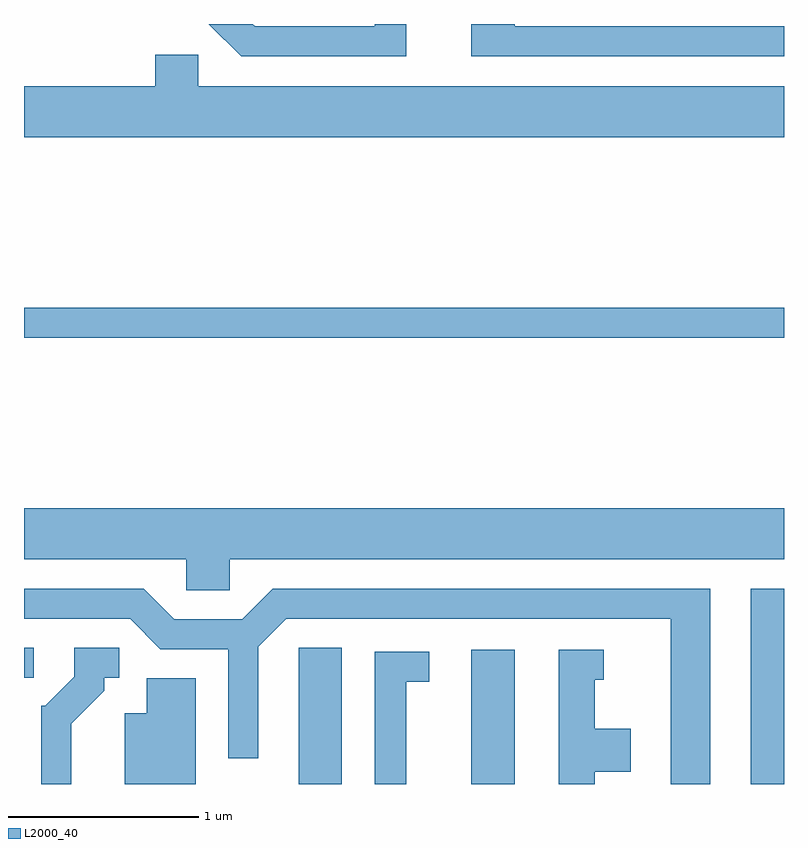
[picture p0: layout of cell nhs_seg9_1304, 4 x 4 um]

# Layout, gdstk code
import gdstk
lib = gdstk.Library(unit=1e-6, precision=1e-09)
def R(c, l, rs):  # rectangles x0, y0, x1, y1
    for r in rs: c.add(gdstk.rectangle(r[:2], r[2:], *l))
def P(c, l, *ps):  # polygons
    for p in ps: c.add(gdstk.Polygon(p, *l))
L2000_40 = (2000, 40)

nhs_seg9_1304 = lib.new_cell('nhs_seg9_1304')
R(nhs_seg9_1304, L2000_40, [(225.056,1968.432,225.284,1969.149), (225.966,1968.432,226.194,1969.139), (227.436,1968.432,227.611,1969.459), (223.611,1968.991,223.663,1969.149), (223.611,1970.781,227.611,1970.939)])
P(nhs_seg9_1304, L2000_40, [(225.624,1972.432),(225.456,1972.432),(225.456,1972.419),(224.827,1972.419),(224.814,1972.432),(224.583,1972.432),(224.754,1972.261),(225.624,1972.261)],
  [(227.611,1972.419),(226.194,1972.419),(226.194,1972.432),(225.966,1972.432),(225.966,1972.261),(227.611,1972.261)],
  [(227.611,1972.104),(224.529,1972.104),(224.529,1972.269),(224.301,1972.269),(224.301,1972.104),(223.611,1972.104),(223.611,1971.836),(227.611,1971.836)],
  [(224.694,1969.616),(227.611,1969.616),(227.611,1969.884),(223.611,1969.884),(223.611,1969.616),(224.466,1969.616),(224.466,1969.451),(224.694,1969.451)],
  [(227.224,1969.459),(224.919,1969.459),(224.759,1969.299),(224.402,1969.299),(224.242,1969.459),(223.611,1969.459),(223.611,1969.301),(224.169,1969.301),(224.329,1969.141),(224.686,1969.141),(224.686,1968.568),(224.844,1968.568),(224.844,1969.154),(224.992,1969.301),(227.016,1969.301),(227.016,1968.432),(227.224,1968.432)],
  [(223.859,1968.749),(224.013,1968.902),(224.034,1968.924),(224.034,1968.991),(224.113,1968.991),(224.113,1969.149),(223.876,1969.149),(223.876,1968.997),(223.724,1968.844),(223.701,1968.844),(223.701,1968.432),(223.859,1968.432)],
  [(226.614,1968.496),(226.804,1968.496),(226.804,1968.724),(226.614,1968.724),(226.614,1968.981),(226.663,1968.981),(226.663,1969.139),(226.426,1969.139),(226.426,1968.432),(226.614,1968.432)],
  [(225.624,1968.971),(225.743,1968.971),(225.743,1969.129),(225.456,1969.129),(225.456,1968.432),(225.624,1968.432)],
  [(224.514,1968.989),(224.256,1968.989),(224.256,1968.804),(224.141,1968.804),(224.141,1968.432),(224.514,1968.432)])

lib.write_gds('nhs_seg9_1304.gds')
